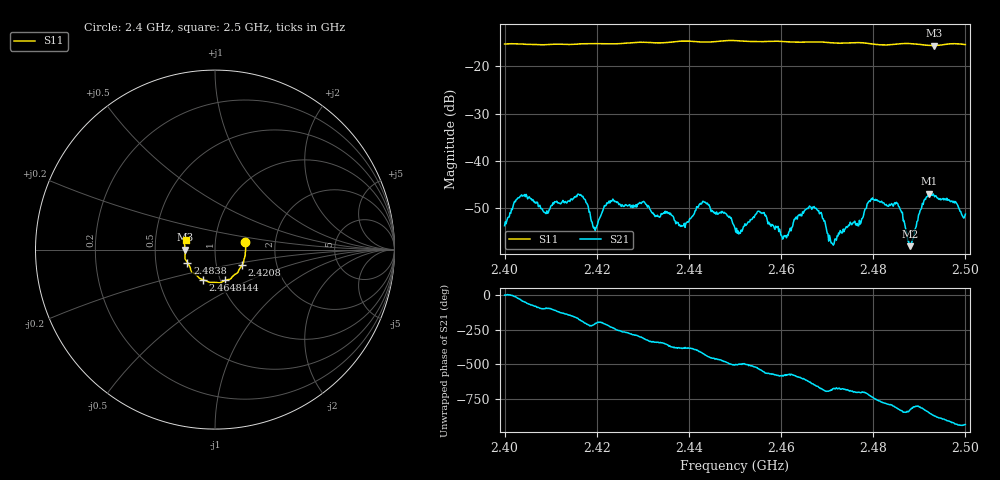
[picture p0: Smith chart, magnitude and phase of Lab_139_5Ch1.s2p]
# Hz S RI R 50
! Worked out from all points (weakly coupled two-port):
!   601 points, 2.4 GHz to 2.5 GHz, reference 50 ohm
!   highest |S21| = -46.94 dB at 2.4922 GHz (marker M1); lowest = -58.0 dB at 2.488 GHz (marker M2)
!   lowest |S11| = -15.6 dB at 2.4932 GHz (marker M3), VSWR 1.40, Z = 35.8 - j0.0694 ohm
!   |S11| at or under -10 dB: start of sweep to end of sweep
!   S12 and S22 are empty: the file has one direction only
!   S11 on the Smith chart (normalised r, x): 2.4 GHz: 1.40, +0.12; 2.4208 GHz: 1.33, -0.24; 2.444 GHz: 1.06, -0.37; 2.4648 GHz: 0.83, -0.29; 2.4838 GHz: 0.73, -0.11; 2.5 GHz: 0.72, +0.08
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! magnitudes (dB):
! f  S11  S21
! 2.4 GHz  -15.3  -53.7
! 2.4038 GHz  -15.3  -47.4
! 2.409 GHz  -15.4  -51.1
! 2.4167 GHz  -15.2  -47.3
! 2.4193 GHz  -15.2  -54.2
! 2.4208 GHz  -15.2  -51.7
! 2.4333 GHz  -15.0  -51.7
! 2.4387 GHz  -14.6  -53.7
! 2.444 GHz  -14.9  -48.9
! 2.45 GHz  -14.5  -54.2
! 2.4553 GHz  -14.8  -50.7
! 2.4608 GHz  -14.8  -55.9
! 2.4648 GHz  -14.9  -51.1
! 2.4667 GHz  -14.8  -50.2
! 2.4713 GHz  -15.0  -57.8
! 2.4793 GHz  -15.2  -48.6
! 2.4833 GHz  -15.4  -49.6
! 2.4838 GHz  -15.4  -49.3
! 2.488 GHz  -15.2  -58.0
! 2.4922 GHz  -15.6  -46.9
! 2.4932 GHz  -15.6  -47.2
! 2.5 GHz  -15.4  -51.2
